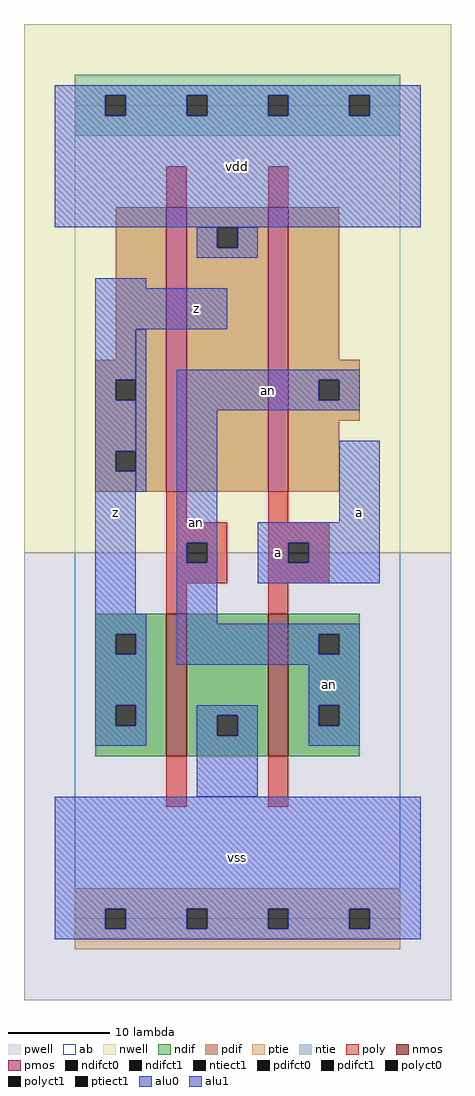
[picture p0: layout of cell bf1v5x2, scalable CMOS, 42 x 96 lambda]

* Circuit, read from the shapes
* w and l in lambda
.subckt bf1v5x2 a an vdd vss z
M1 vss an z vss nfet w=14 l=2
M2 an a vss vss nfet w=14 l=2
M3 vdd an z vdd pfet w=28 l=2
M4 an a vdd vdd pfet w=28 l=2
.ends

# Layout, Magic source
magic
tech scmos
<< ab >>
rect 0 0 32 80
<< nwell >>
rect -5 36 37 88
<< pwell >>
rect -5 -8 37 36
<< poly >>
rect 9 70 11 74
rect 19 70 21 74
rect 9 39 11 42
rect 19 39 21 42
rect 9 37 15 39
rect 9 35 11 37
rect 13 35 15 37
rect 9 33 15 35
rect 19 37 25 39
rect 19 35 21 37
rect 23 35 25 37
rect 19 33 25 35
rect 9 30 11 33
rect 19 30 21 33
rect 9 11 11 16
rect 19 11 21 16
<< ndif >>
rect 2 28 9 30
rect 2 26 4 28
rect 6 26 9 28
rect 2 21 9 26
rect 2 19 4 21
rect 6 19 9 21
rect 2 16 9 19
rect 11 20 19 30
rect 11 18 14 20
rect 16 18 19 20
rect 11 16 19 18
rect 21 28 28 30
rect 21 26 24 28
rect 26 26 28 28
rect 21 21 28 26
rect 21 19 24 21
rect 26 19 28 21
rect 21 16 28 19
<< pdif >>
rect 4 55 9 70
rect 2 53 9 55
rect 2 51 4 53
rect 6 51 9 53
rect 2 46 9 51
rect 2 44 4 46
rect 6 44 9 46
rect 2 42 9 44
rect 11 68 19 70
rect 11 66 14 68
rect 16 66 19 68
rect 11 42 19 66
rect 21 55 26 70
rect 21 53 28 55
rect 21 51 24 53
rect 26 51 28 53
rect 21 49 28 51
rect 21 42 26 49
<< alu1 >>
rect -2 81 34 82
rect -2 79 3 81
rect 5 79 11 81
rect 13 79 19 81
rect 21 79 27 81
rect 29 79 34 81
rect -2 68 34 79
rect 2 62 7 63
rect 2 58 15 62
rect 2 53 6 58
rect 2 51 4 53
rect 2 46 6 51
rect 2 44 4 46
rect 2 30 6 44
rect 26 39 30 47
rect 2 28 7 30
rect 2 26 4 28
rect 6 26 7 28
rect 2 21 7 26
rect 18 37 30 39
rect 18 35 21 37
rect 23 35 30 37
rect 18 33 30 35
rect 2 19 4 21
rect 6 19 7 21
rect 2 17 7 19
rect -2 1 34 12
rect -2 -1 3 1
rect 5 -1 11 1
rect 13 -1 19 1
rect 21 -1 27 1
rect 29 -1 34 1
rect -2 -2 34 -1
<< ptie >>
rect 0 1 32 3
rect 0 -1 3 1
rect 5 -1 11 1
rect 13 -1 19 1
rect 21 -1 27 1
rect 29 -1 32 1
rect 0 -3 32 -1
<< ntie >>
rect 0 81 32 83
rect 0 79 3 81
rect 5 79 11 81
rect 13 79 19 81
rect 21 79 27 81
rect 29 79 32 81
rect 0 77 32 79
<< nmos >>
rect 9 16 11 30
rect 19 16 21 30
<< pmos >>
rect 9 42 11 70
rect 19 42 21 70
<< polyct0 >>
rect 11 35 13 37
<< polyct1 >>
rect 21 35 23 37
<< ndifct0 >>
rect 14 18 16 20
rect 24 26 26 28
rect 24 19 26 21
<< ndifct1 >>
rect 4 26 6 28
rect 4 19 6 21
<< ntiect1 >>
rect 3 79 5 81
rect 11 79 13 81
rect 19 79 21 81
rect 27 79 29 81
<< ptiect1 >>
rect 3 -1 5 1
rect 11 -1 13 1
rect 19 -1 21 1
rect 27 -1 29 1
<< pdifct0 >>
rect 14 66 16 68
rect 24 51 26 53
<< pdifct1 >>
rect 4 51 6 53
rect 4 44 6 46
<< alu0 >>
rect 12 66 14 68
rect 16 66 18 68
rect 12 65 18 66
rect 6 42 7 58
rect 10 53 28 54
rect 10 51 24 53
rect 26 51 28 53
rect 10 50 28 51
rect 10 37 14 50
rect 10 35 11 37
rect 13 35 14 37
rect 10 29 14 35
rect 10 28 28 29
rect 10 26 24 28
rect 26 26 28 28
rect 10 25 28 26
rect 23 21 28 25
rect 12 20 18 21
rect 12 18 14 20
rect 16 18 18 20
rect 12 12 18 18
rect 23 19 24 21
rect 26 19 28 21
rect 23 17 28 19
<< labels >>
rlabel alu0 12 39 12 39 6 an
rlabel alu0 25 23 25 23 6 an
rlabel alu0 19 52 19 52 6 an
rlabel alu1 4 40 4 40 6 z
rlabel alu1 16 6 16 6 6 vss
rlabel alu1 12 60 12 60 6 z
rlabel alu1 16 74 16 74 6 vdd
rlabel alu1 20 36 20 36 6 a
rlabel alu1 28 40 28 40 6 a
<< end >>
